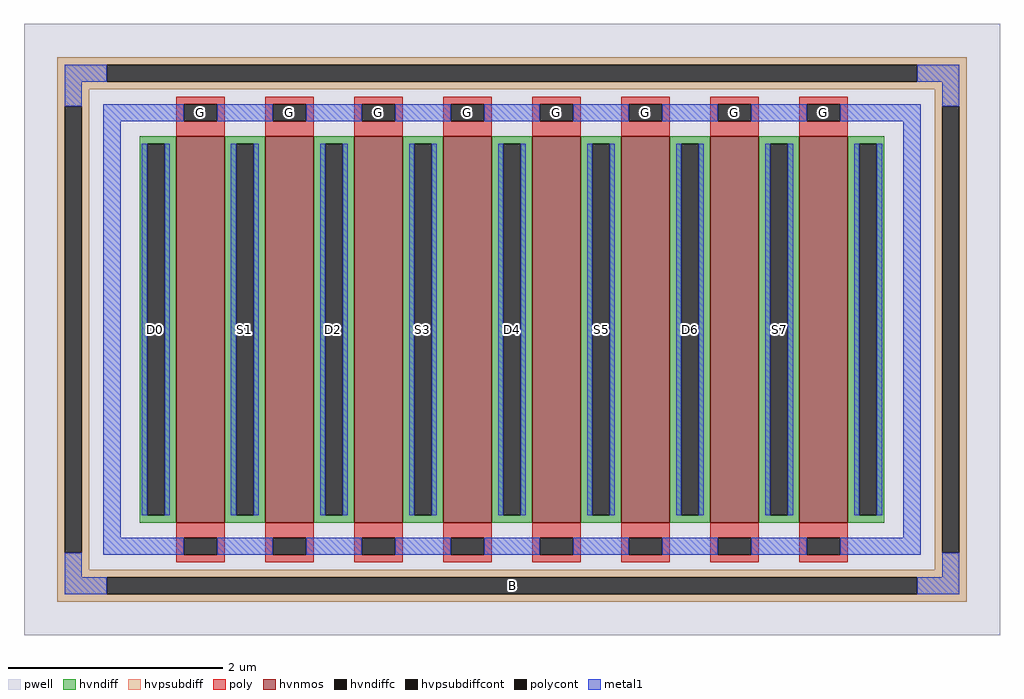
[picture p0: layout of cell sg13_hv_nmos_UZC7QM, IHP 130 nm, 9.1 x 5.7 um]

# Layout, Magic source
magic
tech ihp-sg13cmos5l
magscale 1 2
<< pwell >>
rect -910 -570 910 570
<< hvnmos >>
rect -626 -360 -536 360
rect -460 -360 -370 360
rect -294 -360 -204 360
rect -128 -360 -38 360
rect 38 -360 128 360
rect 204 -360 294 360
rect 370 -360 460 360
rect 536 -360 626 360
<< hvndiff >>
rect -694 346 -626 360
rect -694 -346 -680 346
rect -648 -346 -626 346
rect -694 -360 -626 -346
rect -536 346 -460 360
rect -536 -346 -514 346
rect -482 -346 -460 346
rect -536 -360 -460 -346
rect -370 346 -294 360
rect -370 -346 -348 346
rect -316 -346 -294 346
rect -370 -360 -294 -346
rect -204 346 -128 360
rect -204 -346 -182 346
rect -150 -346 -128 346
rect -204 -360 -128 -346
rect -38 346 38 360
rect -38 -346 -16 346
rect 16 -346 38 346
rect -38 -360 38 -346
rect 128 346 204 360
rect 128 -346 150 346
rect 182 -346 204 346
rect 128 -360 204 -346
rect 294 346 370 360
rect 294 -346 316 346
rect 348 -346 370 346
rect 294 -360 370 -346
rect 460 346 536 360
rect 460 -346 482 346
rect 514 -346 536 346
rect 460 -360 536 -346
rect 626 346 694 360
rect 626 -346 648 346
rect 680 -346 694 346
rect 626 -360 694 -346
<< hvndiffc >>
rect -680 -346 -648 346
rect -514 -346 -482 346
rect -348 -346 -316 346
rect -182 -346 -150 346
rect -16 -346 16 346
rect 150 -346 182 346
rect 316 -346 348 346
rect 482 -346 514 346
rect 648 -346 680 346
<< hvpsubdiff >>
rect -848 494 848 508
rect -848 462 -756 494
rect 756 462 848 494
rect -848 448 848 462
rect -848 416 -788 448
rect -848 -416 -834 416
rect -802 -416 -788 416
rect 788 416 848 448
rect -848 -448 -788 -416
rect 788 -416 802 416
rect 834 -416 848 416
rect 788 -448 848 -416
rect -848 -462 848 -448
rect -848 -494 -756 -462
rect 756 -494 848 -462
rect -848 -508 848 -494
<< hvpsubdiffcont >>
rect -756 462 756 494
rect -834 -416 -802 416
rect 802 -416 834 416
rect -756 -494 756 -462
<< poly >>
rect -626 420 -536 434
rect -626 388 -612 420
rect -550 388 -536 420
rect -626 360 -536 388
rect -460 420 -370 434
rect -460 388 -446 420
rect -384 388 -370 420
rect -460 360 -370 388
rect -294 420 -204 434
rect -294 388 -280 420
rect -218 388 -204 420
rect -294 360 -204 388
rect -128 420 -38 434
rect -128 388 -114 420
rect -52 388 -38 420
rect -128 360 -38 388
rect 38 420 128 434
rect 38 388 52 420
rect 114 388 128 420
rect 38 360 128 388
rect 204 420 294 434
rect 204 388 218 420
rect 280 388 294 420
rect 204 360 294 388
rect 370 420 460 434
rect 370 388 384 420
rect 446 388 460 420
rect 370 360 460 388
rect 536 420 626 434
rect 536 388 550 420
rect 612 388 626 420
rect 536 360 626 388
rect -626 -388 -536 -360
rect -626 -420 -612 -388
rect -550 -420 -536 -388
rect -626 -434 -536 -420
rect -460 -388 -370 -360
rect -460 -420 -446 -388
rect -384 -420 -370 -388
rect -460 -434 -370 -420
rect -294 -388 -204 -360
rect -294 -420 -280 -388
rect -218 -420 -204 -388
rect -294 -434 -204 -420
rect -128 -388 -38 -360
rect -128 -420 -114 -388
rect -52 -420 -38 -388
rect -128 -434 -38 -420
rect 38 -388 128 -360
rect 38 -420 52 -388
rect 114 -420 128 -388
rect 38 -434 128 -420
rect 204 -388 294 -360
rect 204 -420 218 -388
rect 280 -420 294 -388
rect 204 -434 294 -420
rect 370 -388 460 -360
rect 370 -420 384 -388
rect 446 -420 460 -388
rect 370 -434 460 -420
rect 536 -388 626 -360
rect 536 -420 550 -388
rect 612 -420 626 -388
rect 536 -434 626 -420
<< polycont >>
rect -612 388 -550 420
rect -446 388 -384 420
rect -280 388 -218 420
rect -114 388 -52 420
rect 52 388 114 420
rect 218 388 280 420
rect 384 388 446 420
rect 550 388 612 420
rect -612 -420 -550 -388
rect -446 -420 -384 -388
rect -280 -420 -218 -388
rect -114 -420 -52 -388
rect 52 -420 114 -388
rect 218 -420 280 -388
rect 384 -420 446 -388
rect 550 -420 612 -388
<< metal1 >>
rect -834 462 -756 494
rect 756 462 834 494
rect -834 416 -802 462
rect -834 -462 -802 -416
rect -762 388 -612 420
rect -550 388 -446 420
rect -384 388 -280 420
rect -218 388 -114 420
rect -52 388 52 420
rect 114 388 218 420
rect 280 388 384 420
rect 446 388 550 420
rect 612 388 762 420
rect -762 -388 -730 388
rect -690 -346 -680 346
rect -648 -346 -638 346
rect -524 -346 -514 346
rect -482 -346 -472 346
rect -358 -346 -348 346
rect -316 -346 -306 346
rect -192 -346 -182 346
rect -150 -346 -140 346
rect -26 -346 -16 346
rect 16 -346 26 346
rect 140 -346 150 346
rect 182 -346 192 346
rect 306 -346 316 346
rect 348 -346 358 346
rect 472 -346 482 346
rect 514 -346 524 346
rect 638 -346 648 346
rect 680 -346 690 346
rect 730 -388 762 388
rect -762 -420 -612 -388
rect -550 -420 -446 -388
rect -384 -420 -280 -388
rect -218 -420 -114 -388
rect -52 -420 52 -388
rect 114 -420 218 -388
rect 280 -420 384 -388
rect 446 -420 550 -388
rect 612 -420 762 -388
rect 802 416 834 462
rect 802 -462 834 -416
rect -834 -494 -756 -462
rect 756 -494 834 -462
<< labels >>
rlabel hvpsubdiffcont 0 -478 0 -478 0 B
port 1 nsew
rlabel hvndiffc -664 0 -664 0 0 D0
port 2 nsew
rlabel polycont -581 404 -581 404 0 G
port 3 nsew
rlabel hvndiffc -498 0 -498 0 0 S1
port 4 nsew
rlabel polycont -415 404 -415 404 0 G
port 3 nsew
rlabel hvndiffc -332 0 -332 0 0 D2
port 5 nsew
rlabel polycont -249 404 -249 404 0 G
port 3 nsew
rlabel hvndiffc -166 0 -166 0 0 S3
port 6 nsew
rlabel polycont -83 404 -83 404 0 G
port 3 nsew
rlabel hvndiffc 0 0 0 0 0 D4
port 7 nsew
rlabel polycont 83 404 83 404 0 G
port 3 nsew
rlabel hvndiffc 166 0 166 0 0 S5
port 8 nsew
rlabel polycont 249 404 249 404 0 G
port 3 nsew
rlabel hvndiffc 332 0 332 0 0 D6
port 9 nsew
rlabel polycont 415 404 415 404 0 G
port 3 nsew
rlabel hvndiffc 498 0 498 0 0 S7
port 10 nsew
rlabel polycont 581 404 581 404 0 G
port 3 nsew
<< properties >>
string FIXED_BBOX -818 -478 818 478
string gencell sg13_hv_nmos
string library sg13cmos5l
string parameters w 3.6 l 0.45 m 1 ng 8 diffcov 100 polycov 100 guard 1 glc 1 grc 1 gtc 1 gbc 1 tbcov 100 rlcov 100 topc 1 botc 1 poverlap 0 doverlap 1 lmin 0.45 wmin 0.15 class mosfet compatible {sg13_lv_nmos sg13_hv_nmos} full_metal 1 conn_gates 1 gate_ring 1 doports 1 viasrc 0 viadrn 0 viagate 0 ccols 1 viagb 0 viagr 0 viagl 0 viagt 0
<< end >>
